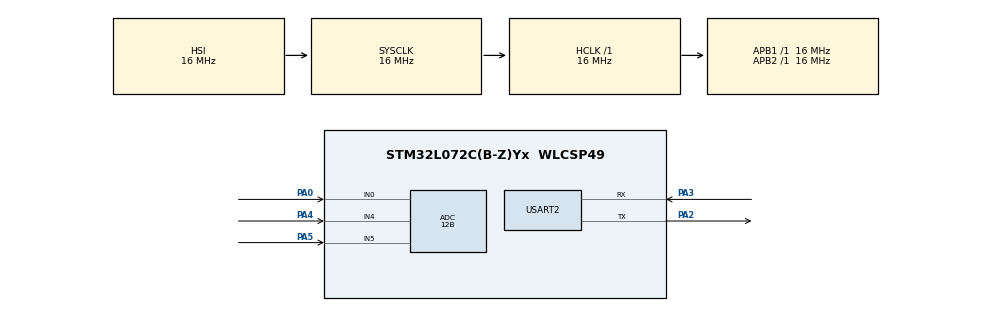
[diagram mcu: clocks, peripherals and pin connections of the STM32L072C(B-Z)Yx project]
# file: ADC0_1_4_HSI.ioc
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ADC.ClockPrescaler=ADC_CLOCK_SYNC_PCLK_DIV4
ADC.ContinuousConvMode=ENABLE
ADC.DMAContinuousRequests=ENABLE
ADC.DataAlign=ADC_DATAALIGN_RIGHT
ADC.DiscontinuousConvMode=DISABLE
ADC.EOCSelection=ADC_EOC_SEQ_CONV
ADC.EnableAnalogWatchDog=false
ADC.ExternalTrigConv=ADC_SOFTWARE_START
ADC.ExternalTrigConvEdge=ADC_EXTERNALTRIGCONVEDGE_NONE
ADC.LowPowerAutoPowerOff=DISABLE
ADC.LowPowerAutoWait=DISABLE
ADC.LowPowerFrequencyMode=DISABLE
ADC.Overrun=ADC_OVR_DATA_PRESERVED
ADC.OversamplingMode=DISABLE
ADC.Resolution=ADC_RESOLUTION_12B
ADC.SamplingTime=ADC_SAMPLETIME_19CYCLES_5
ADC.ScanConvMode=ADC_SCAN_DIRECTION_FORWARD
Dma.ADC.0.Direction=DMA_PERIPH_TO_MEMORY
Dma.ADC.0.Instance=DMA1_Channel1
Dma.ADC.0.MemDataAlignment=DMA_MDATAALIGN_HALFWORD
Dma.ADC.0.MemInc=DMA_MINC_ENABLE
Dma.ADC.0.Mode=DMA_CIRCULAR
Dma.ADC.0.PeriphDataAlignment=DMA_PDATAALIGN_HALFWORD
Dma.ADC.0.PeriphInc=DMA_PINC_DISABLE
Dma.ADC.0.Priority=DMA_PRIORITY_LOW
Dma.Request0=ADC
Mcu.Family=STM32L0
Mcu.Name=STM32L072C(B-Z)Yx
Mcu.Package=WLCSP49
NVIC.DMA1_Channel1_IRQn=true\:0\:0\:false\:false\:true\:false
NVIC.TIM2_IRQn=true\:0\:0\:false\:true\:true\:1\:true
PA0.Mode=IN0
PA0.Signal=ADC_IN0
PA2.Mode=Asynchronous
PA2.Signal=USART2_TX
PA3.Mode=Asynchronous
PA3.Signal=USART2_RX
PA4.Mode=IN4
PA4.Signal=ADC_IN4
PA5.Mode=IN5
PA5.Signal=ADC_IN5
ProjectManager.HeapSize=0x200
ProjectManager.StackSize=0x400
ProjectManager.TargetToolchain=MDK-ARM V5
RCC.ADCFreq_Value=16000000
RCC.AHBFreq_Value=16000000
RCC.APB1Freq_Value=16000000
RCC.APB1TimFreq_Value=16000000
RCC.APB2Freq_Value=16000000
RCC.APB2TimFreq_Value=16000000
RCC.HCLKFreq_Value=16000000
RCC.HSE_VALUE=8000000
RCC.HSI16_VALUE=16000000
RCC.HSI48_VALUE=48000000
RCC.HSI_VALUE=16000000
RCC.LSE_VALUE=32768
RCC.MSI_VALUE=2097000
RCC.SYSCLKFreq_VALUE=16000000
RCC.SYSCLKSource=RCC_SYSCLKSOURCE_HSI
RCC.VCOOutputFreq_Value=48000000
TIM2.Period=4192
TIM2.Prescaler=999
USART2.VirtualMode-Asynchronous=VM_ASYNC
VP_TIM2_VS_ClockSourceINT.Mode=Internal
board=custom

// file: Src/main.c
/**
  ******************************************************************************
  * @file           : main.c
  * @brief          : Main program body
  ******************************************************************************
  ** This notice applies to any and all portions of this file
  * that are not between comment pairs USER CODE BEGIN and
  * USER CODE END. Other portions of this file, whether
  * inserted by the user or by software development tools
  * are owned by their respective copyright owners.
  *
  * COPYRIGHT(c) 2019 STMicroelectronics
  *
  * Redistribution and use in source and binary forms, with or without modification,
  * are permitted provided that the following conditions are met:
  *   1. Redistributions of source code must retain the above copyright notice,
  *      this list of conditions and the following disclaimer.
  *   2. Redistributions in binary form must reproduce the above copyright notice,
  *      this list of conditions and the following disclaimer in the documentation
  *      and/or other materials provided with the distribution.
  *   3. Neither the name of STMicroelectronics nor the names of its contributors
  *      may be used to endorse or promote products derived from this software
  *      without specific prior written permission.
  *
  * THIS SOFTWARE IS PROVIDED BY THE COPYRIGHT HOLDERS AND CONTRIBUTORS "AS IS"
  * AND ANY EXPRESS OR IMPLIED WARRANTIES, INCLUDING, BUT NOT LIMITED TO, THE
  * IMPLIED WARRANTIES OF MERCHANTABILITY AND FITNESS FOR A PARTICULAR PURPOSE ARE
  * DISCLAIMED. IN NO EVENT SHALL THE COPYRIGHT HOLDER OR CONTRIBUTORS BE LIABLE
  * FOR ANY DIRECT, INDIRECT, INCIDENTAL, SPECIAL, EXEMPLARY, OR CONSEQUENTIAL
  * DAMAGES (INCLUDING, BUT NOT LIMITED TO, PROCUREMENT OF SUBSTITUTE GOODS OR
  * SERVICES; LOSS OF USE, DATA, OR PROFITS; OR BUSINESS INTERRUPTION) HOWEVER
  * CAUSED AND ON ANY THEORY OF LIABILITY, WHETHER IN CONTRACT, STRICT LIABILITY,
  * OR TORT (INCLUDING NEGLIGENCE OR OTHERWISE) ARISING IN ANY WAY OUT OF THE USE
  * OF THIS SOFTWARE, EVEN IF ADVISED OF THE POSSIBILITY OF SUCH DAMAGE.
  *
  ******************************************************************************
  */
#include "main.h"
#include "stm32l0xx_hal.h"

ADC_HandleTypeDef hadc;
DMA_HandleTypeDef hdma_adc;

TIM_HandleTypeDef htim2;

UART_HandleTypeDef huart2;

/* USER CODE BEGIN PV */
/* Private variables ---------------------------------------------------------*/

/* USER CODE END PV */

void SystemClock_Config(void);
static void MX_GPIO_Init(void);
static void MX_DMA_Init(void);
static void MX_USART2_UART_Init(void);
static void MX_TIM2_Init(void);
static void MX_ADC_Init(void);
static void MX_NVIC_Init(void);

/* USER CODE BEGIN PFP */
/* Private function prototypes -----------------------------------------------*/
static int n=0;
static int ADC0[256];
static int ADC4[256];
static int ADC5[256];
/* USER CODE END PFP */

/* USER CODE BEGIN 0 */
#ifdef __GNUC__
/* With GCC, small printf (option LD Linker->Libraries->Small printf
   set to 'Yes') calls __io_putchar() */
#define PUTCHAR_PROTOTYPE int __io_putchar(int ch)
#else
#define PUTCHAR_PROTOTYPE int fputc(int ch, FILE *f)
#endif /* __GNUC__ */

#define ADC_CONVERTED_DATA_BUFFER_SIZE   ((uint32_t)  6)
static uint16_t   aADCxConvertedData[ADC_CONVERTED_DATA_BUFFER_SIZE];

// Timer Intterupt Callback Function------
void HAL_TIM_PeriodElapsedCallback(TIM_HandleTypeDef *htim)
{
  if(htim == &htim2){

	HAL_ADC_Start_DMA(&hadc,
               (uint32_t *)aADCxConvertedData, ADC_CONVERTED_DATA_BUFFER_SIZE);

	HAL_Delay(300);

	int sum0 = 0 ;
	int av0 =0;
	for(int j= 0;j<256;j++){
			printf("ADC0[%d] Value is %d\r\n", j , ADC0[j]);
		  sum0 = sum0 + ADC0[j];
		  }
	av0 = sum0/256;

	int sum4 = 0 ;
	int av4 =0;

	for(int j= 0;j<256;j++){
			printf("ADC4[%d] Value is %d\r\n", j , ADC4[j]);
			sum4 = sum4 + ADC4[j];
		}
	 av4 = sum4/256;

	int sum5 = 0 ;
	int av5 =0;
	for(int j= 0;j<256;j++){
			printf("ADC5[%d] Value is %d\r\n", j , ADC5[j]);
			sum5= sum5 + ADC5[j];
		}
	av5= sum5/256;

		printf("average ADC[0] =  %d\r\n", av0);
    printf("average ADC[4] =  %d\r\n", av4);
		printf("average ADC[5] =  %d\r\n", av5);
		}

}

/* USER CODE END 0 */

int main(void)
{
  /* USER CODE BEGIN 1 */
// printf("hello");
  /* USER CODE END 1 */

  /* MCU Configuration----------------------------------------------------------*/

  /* Reset of all peripherals, Initializes the Flash interface and the Systick. */
  HAL_Init();

  /* Configure the system clock */
  SystemClock_Config();

  /* Initialize all configured peripherals */
  MX_GPIO_Init();
  MX_DMA_Init();
  MX_USART2_UART_Init();
  MX_TIM2_Init();
  MX_ADC_Init();

  /* Initialize interrupts */
  MX_NVIC_Init();
  /* USER CODE BEGIN 2 */
	 HAL_TIM_Base_Start_IT(&htim2);
  /* USER CODE END 2 */

  /* Infinite loop */
  while (1)
  {

  }

}

void SystemClock_Config(void)
{

  RCC_OscInitTypeDef RCC_OscInitStruct;
  RCC_ClkInitTypeDef RCC_ClkInitStruct;
  RCC_PeriphCLKInitTypeDef PeriphClkInit;

    /**Configure the main internal regulator output voltage
    */
  __HAL_PWR_VOLTAGESCALING_CONFIG(PWR_REGULATOR_VOLTAGE_SCALE1);

    /**Initializes the CPU, AHB and APB busses clocks
    */
  RCC_OscInitStruct.OscillatorType = RCC_OSCILLATORTYPE_HSI;
  RCC_OscInitStruct.HSIState = RCC_HSI_ON;
  RCC_OscInitStruct.HSICalibrationValue = 16;
  RCC_OscInitStruct.PLL.PLLState = RCC_PLL_NONE;
  if (HAL_RCC_OscConfig(&RCC_OscInitStruct) != HAL_OK)
  {
    _Error_Handler(__FILE__, __LINE__);
  }

    /**Initializes the CPU, AHB and APB busses clocks
    */
  RCC_ClkInitStruct.ClockType = RCC_CLOCKTYPE_HCLK|RCC_CLOCKTYPE_SYSCLK
                              |RCC_CLOCKTYPE_PCLK1|RCC_CLOCKTYPE_PCLK2;
  RCC_ClkInitStruct.SYSCLKSource = RCC_SYSCLKSOURCE_HSI;
  RCC_ClkInitStruct.AHBCLKDivider = RCC_SYSCLK_DIV1;
  RCC_ClkInitStruct.APB1CLKDivider = RCC_HCLK_DIV1;
  RCC_ClkInitStruct.APB2CLKDivider = RCC_HCLK_DIV1;

  if (HAL_RCC_ClockConfig(&RCC_ClkInitStruct, FLASH_LATENCY_0) != HAL_OK)
  {
    _Error_Handler(__FILE__, __LINE__);
  }

  PeriphClkInit.PeriphClockSelection = RCC_PERIPHCLK_USART2;
  PeriphClkInit.Usart2ClockSelection = RCC_USART2CLKSOURCE_PCLK1;
  if (HAL_RCCEx_PeriphCLKConfig(&PeriphClkInit) != HAL_OK)
  {
    _Error_Handler(__FILE__, __LINE__);
  }

    /**Configure the Systick interrupt time
    */
  HAL_SYSTICK_Config(HAL_RCC_GetHCLKFreq()/1000);

    /**Configure the Systick
    */
  HAL_SYSTICK_CLKSourceConfig(SYSTICK_CLKSOURCE_HCLK);

  /* SysTick_IRQn interrupt configuration */
  HAL_NVIC_SetPriority(SysTick_IRQn, 0, 0);
}

/**
  * @brief NVIC Configuration.
  * @retval None
  */
static void MX_NVIC_Init(void)
{
  /* TIM2_IRQn interrupt configuration */
  HAL_NVIC_SetPriority(TIM2_IRQn, 1, 0);
  HAL_NVIC_EnableIRQ(TIM2_IRQn);
}

/* ADC init function */
static void MX_ADC_Init(void)
{

  ADC_ChannelConfTypeDef sConfig;

    /**Configure the global features of the ADC (Clock, Resolution, Data Alignment and number of conversion)
    */
  hadc.Instance = ADC1;
  hadc.Init.OversamplingMode = DISABLE;
  hadc.Init.ClockPrescaler = ADC_CLOCK_SYNC_PCLK_DIV1;
  hadc.Init.Resolution = ADC_RESOLUTION_12B;
  hadc.Init.SamplingTime = ADC_SAMPLETIME_19CYCLES_5;
  hadc.Init.ScanConvMode = ADC_SCAN_DIRECTION_FORWARD;
  hadc.Init.DataAlign = ADC_DATAALIGN_RIGHT;
  hadc.Init.ContinuousConvMode = ENABLE;
  hadc.Init.DiscontinuousConvMode = DISABLE;
  hadc.Init.ExternalTrigConvEdge = ADC_EXTERNALTRIGCONVEDGE_NONE;
  hadc.Init.ExternalTrigConv = ADC_SOFTWARE_START;
  hadc.Init.DMAContinuousRequests = ENABLE;
  hadc.Init.EOCSelection = ADC_EOC_SEQ_CONV;
  hadc.Init.Overrun = ADC_OVR_DATA_PRESERVED;
  hadc.Init.LowPowerAutoWait = DISABLE;
  hadc.Init.LowPowerFrequencyMode = DISABLE;
  hadc.Init.LowPowerAutoPowerOff = DISABLE;
  if (HAL_ADC_Init(&hadc) != HAL_OK)
  {
    _Error_Handler(__FILE__, __LINE__);
  }

    /**Configure for the selected ADC regular channel to be converted.
    */
  sConfig.Channel = ADC_CHANNEL_0;
  sConfig.Rank = ADC_RANK_CHANNEL_NUMBER;
  if (HAL_ADC_ConfigChannel(&hadc, &sConfig) != HAL_OK)
  {
    _Error_Handler(__FILE__, __LINE__);
  }

    /**Configure for the selected ADC regular channel to be converted.
    */

	sConfig.Channel = ADC_CHANNEL_4;
  if (HAL_ADC_ConfigChannel(&hadc, &sConfig) != HAL_OK)
  {
    _Error_Handler(__FILE__, __LINE__);
  }

	/**Configure for the selected ADC regular channel to be converted.
    */

	sConfig.Channel = ADC_CHANNEL_5;
  if (HAL_ADC_ConfigChannel(&hadc, &sConfig) != HAL_OK)
  {
    _Error_Handler(__FILE__, __LINE__);
  }

}

/* TIM2 init function */
static void MX_TIM2_Init(void)
{

  TIM_ClockConfigTypeDef sClockSourceConfig;
  TIM_MasterConfigTypeDef sMasterConfig;

  htim2.Instance = TIM2;
  htim2.Init.Prescaler = 9999;
  htim2.Init.CounterMode = TIM_COUNTERMODE_UP;
  htim2.Init.Period = 16000;
  htim2.Init.ClockDivision = TIM_CLOCKDIVISION_DIV1;
  if (HAL_TIM_Base_Init(&htim2) != HAL_OK)
  {
    _Error_Handler(__FILE__, __LINE__);
  }

  sClockSourceConfig.ClockSource = TIM_CLOCKSOURCE_INTERNAL;
  if (HAL_TIM_ConfigClockSource(&htim2, &sClockSourceConfig) != HAL_OK)
  {
    _Error_Handler(__FILE__, __LINE__);
  }

  sMasterConfig.MasterOutputTrigger = TIM_TRGO_RESET;
  sMasterConfig.MasterSlaveMode = TIM_MASTERSLAVEMODE_DISABLE;
  if (HAL_TIMEx_MasterConfigSynchronization(&htim2, &sMasterConfig) != HAL_OK)
  {
    _Error_Handler(__FILE__, __LINE__);
  }

}

/* USART2 init function */
static void MX_USART2_UART_Init(void)
{

  huart2.Instance = USART2;
  huart2.Init.BaudRate = 115200;
  huart2.Init.WordLength = UART_WORDLENGTH_8B;
  huart2.Init.StopBits = UART_STOPBITS_1;
  huart2.Init.Parity = UART_PARITY_NONE;
  huart2.Init.Mode = UART_MODE_TX_RX;
  huart2.Init.HwFlowCtl = UART_HWCONTROL_NONE;
  huart2.Init.OverSampling = UART_OVERSAMPLING_16;
  huart2.Init.OneBitSampling = UART_ONE_BIT_SAMPLE_DISABLE;
  huart2.AdvancedInit.AdvFeatureInit = UART_ADVFEATURE_NO_INIT;
  if (HAL_UART_Init(&huart2) != HAL_OK)
  {
    _Error_Handler(__FILE__, __LINE__);
  }

}

static void MX_DMA_Init(void)
{
  /* DMA controller clock enable */
  __HAL_RCC_DMA1_CLK_ENABLE();

  /* DMA interrupt init */
  /* DMA1_Channel1_IRQn interrupt configuration */
  HAL_NVIC_SetPriority(DMA1_Channel1_IRQn, 0, 0);
  HAL_NVIC_EnableIRQ(DMA1_Channel1_IRQn);

}

/** Pinout Configuration
*/
static void MX_GPIO_Init(void)
{

  /* GPIO Ports Clock Enable */
  __HAL_RCC_GPIOA_CLK_ENABLE();

}

/* USER CODE BEGIN 4 */
void HAL_ADC_ConvHalfCpltCallback(ADC_HandleTypeDef* hadc)
{
	ADC0[n]= aADCxConvertedData[0];
	ADC4[n]= aADCxConvertedData[4];
	ADC5[n]= aADCxConvertedData[5];
	if( n == 256){
			HAL_ADC_Stop_DMA( hadc);
			n =0;
	}
  n++;
}

// For Printf function
PUTCHAR_PROTOTYPE{

HAL_UART_Transmit(&huart2,(uint8_t *)&ch, 1, 0xFFFF);

	return ch;

}

/* USER CODE END 4 */

void _Error_Handler(char *file, int line)
{
  while(1)
  {
  }
}

/************************ (C) COPYRIGHT STMicroelectronics *****END OF FILE****/
